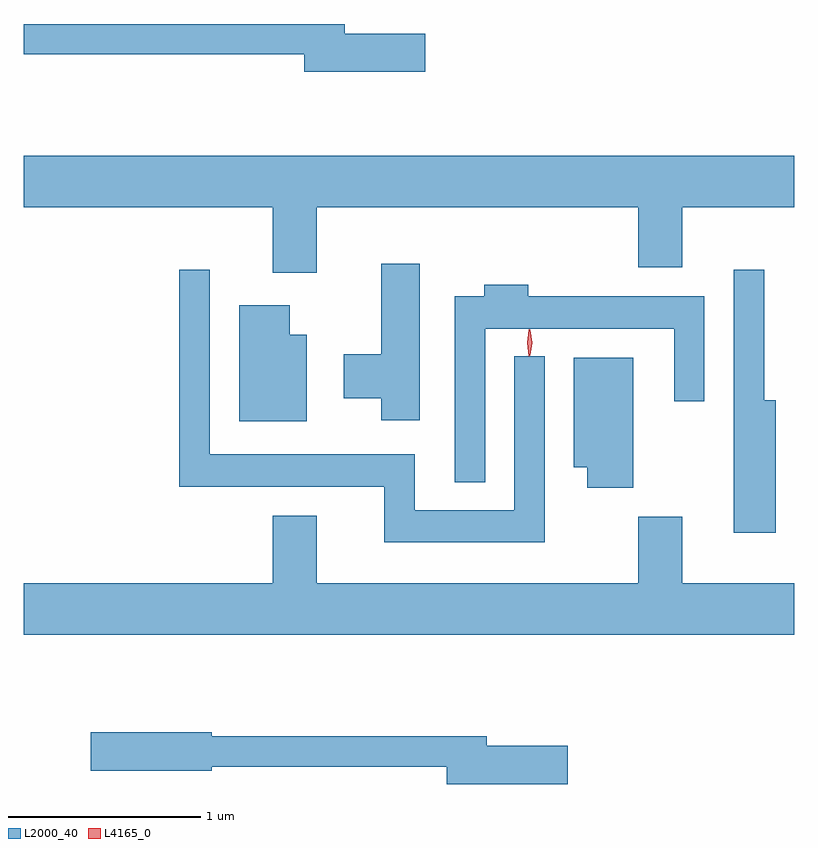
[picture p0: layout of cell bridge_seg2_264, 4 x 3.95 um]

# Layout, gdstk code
import gdstk
lib = gdstk.Library(unit=1e-6, precision=1e-09)
def P(c, l, *ps):  # polygons
    for p in ps: c.add(gdstk.Polygon(p, *l))
L2000_40 = (2000, 40)
L4165_0 = (4165, 0)

bridge_seg2_264 = lib.new_cell('bridge_seg2_264')
P(bridge_seg2_264, L2000_40, [(646.204,1104.719),(645.784,1104.719),(645.784,1104.769),(644.119,1104.769),(644.119,1104.611),(645.576,1104.611),(645.576,1104.521),(646.204,1104.521)],
  [(645.639,1103.816),(647.311,1103.816),(647.311,1103.506),(647.539,1103.506),(647.539,1103.816),(648.119,1103.816),(648.119,1104.084),(644.119,1104.084),(644.119,1103.816),(645.411,1103.816),(645.411,1103.476),(645.639,1103.476)],
  [(646.174,1103.524),(645.976,1103.524),(645.976,1103.054),(645.781,1103.054),(645.781,1102.826),(645.976,1102.826),(645.976,1102.711),(646.174,1102.711)],
  [(648.024,1102.814),(647.964,1102.814),(647.964,1103.493),(647.806,1103.493),(647.806,1102.126),(648.024,1102.126)],
  [(646.824,1103.043),(646.666,1103.043),(646.666,1102.244),(646.149,1102.244),(646.149,1102.534),(645.084,1102.534),(645.084,1103.493),(644.926,1103.493),(644.926,1102.366),(645.991,1102.366),(645.991,1102.076),(646.824,1102.076)],
  [(646.514,1103.186),(647.496,1103.186),(647.496,1102.808),(647.654,1102.808),(647.654,1103.354),(646.739,1103.354),(646.739,1103.414),(646.511,1103.414),(646.511,1103.354),(646.356,1103.354),(646.356,1102.388),(646.514,1102.388)],
  [(645.589,1103.154),(645.499,1103.154),(645.499,1103.309),(645.236,1103.309),(645.236,1102.706),(645.589,1102.706)],
  [(647.284,1103.034),(646.976,1103.034),(646.976,1102.466),(647.046,1102.466),(647.046,1102.361),(647.284,1102.361)],
  [(648.119,1101.864),(647.539,1101.864),(647.539,1102.209),(647.311,1102.209),(647.311,1101.864),(645.639,1101.864),(645.639,1102.214),(645.411,1102.214),(645.411,1101.864),(644.119,1101.864),(644.119,1101.596),(648.119,1101.596)],
  [(646.944,1101.019),(646.524,1101.019),(646.524,1101.069),(645.094,1101.069),(645.094,1101.089),(644.466,1101.089),(644.466,1100.891),(645.094,1100.891),(645.094,1100.911),(646.316,1100.911),(646.316,1100.821),(646.944,1100.821)])
P(bridge_seg2_264, L4165_0, [(646.747,1103.047),(646.738,1103.113),(646.747,1103.18),(646.748,1103.18),(646.748,1103.18),(646.758,1103.113),(646.748,1103.047),(646.748,1103.047)],
  [(646.743,1103.043),(646.742,1103.044),(646.733,1103.113),(646.742,1103.182),(646.743,1103.183),(646.743,1103.182),(646.753,1103.113),(646.743,1103.044)])

lib.write_gds('bridge_seg2_264.gds')
